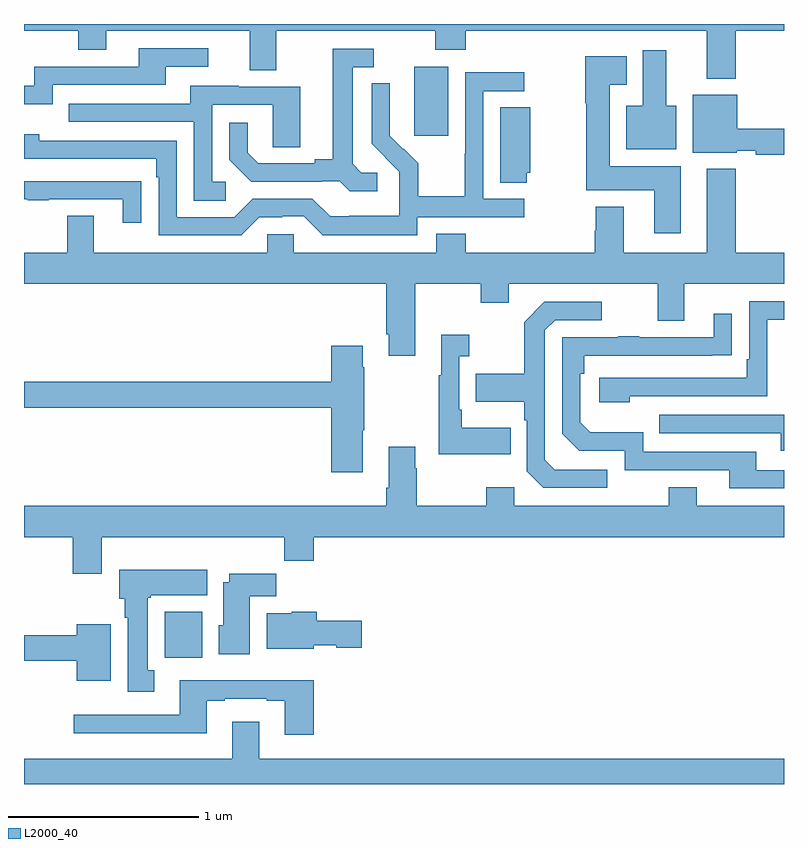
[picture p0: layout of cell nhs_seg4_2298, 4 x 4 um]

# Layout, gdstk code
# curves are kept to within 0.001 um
import gdstk
lib = gdstk.Library(unit=1e-6, precision=1e-09)
def R(c, l, rs):  # rectangles x0, y0, x1, y1
    for r in rs: c.add(gdstk.rectangle(r[:2], r[2:], *l))
def P(c, l, *ps):  # polygons
    for p in ps: c.add(gdstk.Polygon(p, *l))
L2000_40 = (2000, 40)

nhs_seg4_2298 = lib.new_cell('nhs_seg4_2298')
R(nhs_seg4_2298, L2000_40, [(231.74,749.564,231.937,749.806), (233.054,752.313,233.233,752.674)])
P(nhs_seg4_2298, L2000_40, [(234.746,752.864),(235,752.864),(235,752.9),(231,752.9),(231,752.864),(231.286,752.864),(231.286,752.765),(231.433,752.765),(231.433,752.864),(232.187,752.864),(232.187,752.656),(232.327,752.656),(232.327,752.864),(233.164,752.864),(233.164,752.765),(233.324,752.765),(233.324,752.864),(234.593,752.864),(234.593,752.612),(234.746,752.612)],
  [(231.15,752.58),(231.745,752.58),(231.745,752.676),(231.97,752.676),(231.97,752.772),(231.605,752.772),(231.605,752.676),(231.054,752.676),(231.054,752.574),(231,752.574),(231,752.477),(231.15,752.477)],
  [(232.858,752.118),(232.776,752.118),(232.729,752.165),(232.729,752.673),(232.84,752.673),(232.84,752.769),(232.625,752.769),(232.625,752.189),(232.529,752.189),(232.529,752.166),(232.234,752.166),(232.177,752.223),(232.177,752.38),(232.08,752.38),(232.08,752.186),(232.196,752.07),(232.568,752.07),(232.568,752.073),(232.662,752.073),(232.714,752.021),(232.858,752.021)],
  [(234.433,752.47),(234.379,752.47),(234.379,752.761),(234.257,752.761),(234.257,752.47),(234.17,752.47),(234.17,752.24),(234.433,752.24)],
  [(234.457,752.152),(234.082,752.152),(234.082,752.579),(234.172,752.579),(234.172,752.731),(233.953,752.731),(233.953,752.483),(233.96,752.483),(233.96,752.024),(234.317,752.024),(234.317,751.8),(234.457,751.8)],
  [(233.07,751.884),(233.632,751.884),(233.632,751.98),(233.418,751.98),(233.418,752.547),(233.632,752.547),(233.632,752.646),(233.322,752.646),(233.322,752.216),(233.32,752.216),(233.32,751.993),(233.075,751.993),(233.075,752.167),(232.998,752.244),(232.995,752.241),(232.925,752.312),(232.926,752.588),(232.83,752.588),(232.83,752.27),(232.976,752.122),(232.976,752.025),(232.974,752.025),(232.974,751.891),(232.711,751.891),(232.711,751.887),(232.611,751.887),(232.518,751.98),(232.203,751.98),(232.107,751.884),(231.804,751.884),(231.804,752.286),(231.08,752.286),(231.08,752.32),(231,752.32),(231,752.19),(231.695,752.19),(231.695,752.093),(231.708,752.093),(231.708,751.788),(232.143,751.788),(232.239,751.884),(232.358,751.884),(232.358,751.887),(232.473,751.887),(232.573,751.787),(233.07,751.787)],
  [(232.063,752.07),(231.99,752.07),(231.99,752.475),(232.308,752.475),(232.308,752.251),(232.453,752.251),(232.453,752.571),(232.129,752.571),(232.129,752.575),(231.875,752.575),(231.875,752.481),(231.235,752.481),(231.235,752.385),(231.894,752.385),(231.894,751.969),(232.063,751.969)],
  [(235,752.348),(234.754,752.348),(234.754,752.527),(234.521,752.527),(234.521,752.222),(234.75,752.222),(234.75,752.232),(234.85,752.232),(234.85,752.212),(235,752.212)],
  [(233.646,752.118),(233.665,752.118),(233.665,752.462),(233.507,752.462),(233.507,752.065),(233.646,752.065)],
  [(233.059,751.532),(233.404,751.532),(233.404,751.433),(233.551,751.433),(233.551,751.532),(234.335,751.532),(234.335,751.338),(234.475,751.338),(234.475,751.532),(235,751.532),(235,751.696),(234.746,751.696),(234.746,752.137),(234.593,752.137),(234.593,751.696),(234.157,751.696),(234.157,751.939),(234.01,751.939),(234.01,751.812),(234.005,751.812),(234.005,751.696),(233.324,751.696),(233.324,751.795),(233.171,751.795),(233.171,751.696),(232.419,751.696),(232.419,751.794),(232.281,751.794),(232.281,751.696),(231.367,751.696),(231.367,751.891),(231.227,751.891),(231.227,751.696),(231,751.696),(231,751.532),(232.907,751.532),(232.907,751.267),(232.919,751.267),(232.919,751.155),(233.059,751.155)],
  [(231.617,752.072),(231.515,752.072),(231.515,752.073),(231,752.073),(231,751.977),(231.019,751.977),(231.019,751.972),(231.131,751.972),(231.131,751.977),(231.521,751.977),(231.521,751.854),(231.617,751.854)],
  [(234.188,750.942),(234.912,750.942),(234.912,751.344),(235,751.344),(235,751.44),(234.816,751.44),(234.816,751.135),(234.803,751.135),(234.803,751.038),(234.027,751.038),(234.027,750.908),(234.188,750.908)],
  [(234.07,750.555),(233.793,750.555),(233.742,750.606),(233.742,751.287),(233.796,751.341),(234.04,751.341),(234.04,751.437),(233.739,751.437),(233.634,751.331),(233.634,751.059),(233.377,751.059),(233.377,750.911),(233.634,750.911),(233.634,750.815),(233.646,750.815),(233.646,750.546),(233.733,750.459),(234.07,750.459)],
  [(235,750.552),(234.853,750.552),(234.853,750.648),(234.258,750.648),(234.258,750.751),(233.981,750.751),(233.928,750.804),(233.928,751.058),(233.948,751.058),(233.948,751.155),(234.725,751.156),(234.725,751.375),(234.629,751.375),(234.629,751.251),(234.239,751.251),(234.239,751.256),(234.127,751.256),(234.127,751.251),(233.832,751.251),(233.832,750.744),(233.922,750.654),(234.162,750.654),(234.162,750.552),(234.713,750.552),(234.713,750.456),(235,750.456)],
  [(233.561,750.775),(233.305,750.775),(233.305,750.871),(233.292,750.871),(233.292,751.151),(233.344,751.151),(233.344,751.264),(233.195,751.264),(233.195,751.051),(233.184,751.051),(233.184,750.635),(233.561,750.635)],
  [(232.783,750.763),(232.791,750.763),(232.791,751.094),(232.783,751.094),(232.783,751.207),(232.616,751.207),(232.616,751.016),(231,751.016),(231,750.88),(232.616,750.88),(232.616,750.54),(232.783,750.54)],
  [(235,750.843),(234.343,750.843),(234.343,750.747),(234.983,750.747),(234.983,750.653),(235,750.653)],
  [(231.409,750.2),(232.369,750.2),(232.369,750.076),(232.526,750.076),(232.526,750.2),(235,750.2),(235,750.364),(234.541,750.364),(234.541,750.463),(234.394,750.463),(234.394,750.364),(233.58,750.364),(233.58,750.463),(233.434,750.463),(233.434,750.364),(233.067,750.364),(233.067,750.563),(233.059,750.563),(233.059,750.676),(232.919,750.676),(232.919,750.46),(232.907,750.46),(232.907,750.364),(231,750.364),(231,750.2),(231.257,750.2),(231.257,750.006),(231.409,750.006)],
  [(231.685,749.498),(231.652,749.498),(231.652,749.881),(231.666,749.881),(231.666,749.894),(231.964,749.894),(231.964,750.028),(231.5,750.028),(231.5,749.874),(231.53,749.874),(231.53,749.774),(231.545,749.774),(231.545,749.385),(231.685,749.385)],
  [(232.189,749.888),(232.328,749.888),(232.328,750.007),(232.079,750.007),(232.079,749.962),(232.049,749.962),(232.049,749.736),(232.025,749.736),(232.025,749.582),(232.189,749.582)],
  [(232.524,749.63),(232.644,749.63),(232.644,749.618),(232.777,749.618),(232.777,749.76),(232.541,749.76),(232.541,749.806),(232.41,749.806),(232.41,749.8),(232.277,749.8),(232.277,749.612),(232.524,749.612)],
  [(231.457,749.74),(231.278,749.74),(231.278,749.684),(231,749.684),(231,749.548),(231.278,749.548),(231.278,749.444),(231.457,749.444)],
  [(232.526,749.446),(231.821,749.446),(231.821,749.265),(231.261,749.265),(231.261,749.168),(231.961,749.168),(231.961,749.337),(232.057,749.337),(232.057,749.349),(232.277,749.349),(232.277,749.337),(232.373,749.337),(232.373,749.16),(232.526,749.16)],
  [(235,749.032),(232.237,749.032),(232.237,749.227),(232.097,749.227),(232.097,749.032),(231,749.032),(231,748.9),(235,748.9)])

lib.write_gds('nhs_seg4_2298.gds')
